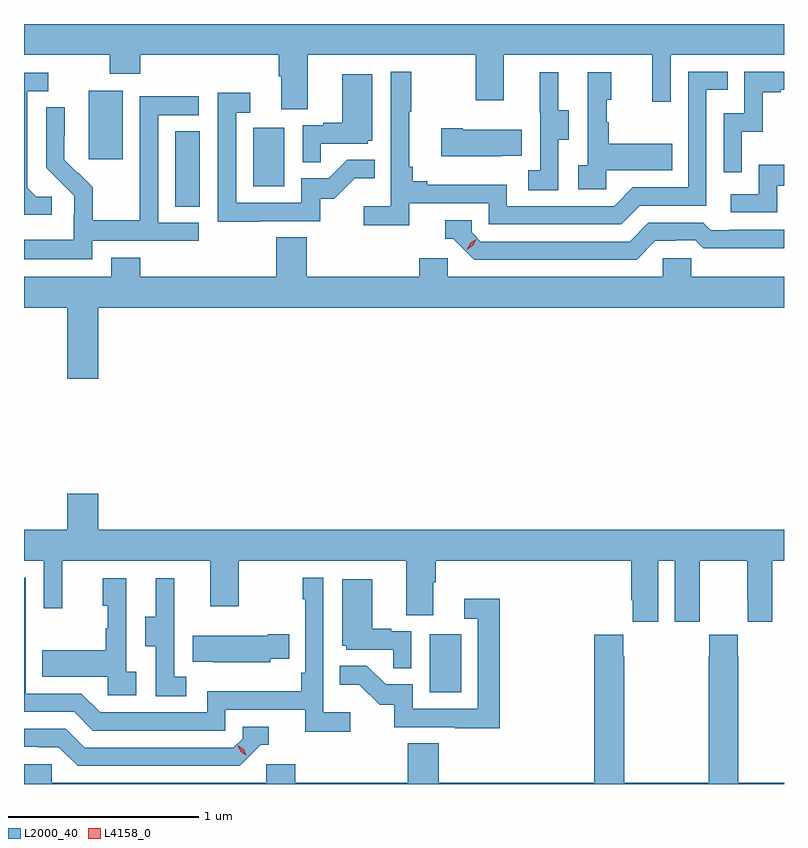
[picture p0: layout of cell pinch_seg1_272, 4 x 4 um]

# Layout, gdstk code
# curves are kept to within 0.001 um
import gdstk
lib = gdstk.Library(unit=1e-6, precision=1e-09)
def R(c, l, rs):  # rectangles x0, y0, x1, y1
    for r in rs: c.add(gdstk.rectangle(r[:2], r[2:], *l))
def P(c, l, *ps):  # polygons
    for p in ps: c.add(gdstk.Polygon(p, *l))
L2000_40 = (2000, 40)
L4158_0 = (4158, 0)

pinch_seg1_272 = lib.new_cell('pinch_seg1_272')
R(pinch_seg1_272, L2000_40, [(898.184,557.7,898.348,558.007), (896.843,560.257,896.974,560.654), (897.254,560.364,897.418,560.671), (896.39,560.505,896.569,560.866)])
P(pinch_seg1_272, L2000_40, [(897.541,561.056),(898.426,561.056),(898.426,560.817),(898.573,560.817),(898.573,561.056),(899.354,561.056),(899.354,560.808),(899.451,560.808),(899.451,561.056),(900.048,561.056),(900.048,561.218),(896.048,561.218),(896.048,561.056),(896.5,561.056),(896.5,560.957),(896.66,560.957),(896.66,561.056),(897.389,561.056),(897.389,560.944),(897.401,560.944),(897.401,560.77),(897.541,560.77)],
  [(898.076,560.274),(898.494,560.274),(898.494,560.163),(899.191,560.163),(899.29,560.262),(899.64,560.262),(899.64,560.871),(899.753,560.871),(899.753,560.967),(899.544,560.967),(899.544,560.358),(899.253,560.358),(899.154,560.259),(898.59,560.259),(898.59,560.371),(898.171,560.371),(898.171,560.39),(898.094,560.39),(898.094,560.467),(898.075,560.467),(898.075,560.755),(898.087,560.755),(898.087,560.968),(897.978,560.968),(897.978,560.26),(897.837,560.26),(897.837,560.158),(898.076,560.158)],
  [(899.826,560.651),(899.936,560.651),(899.936,560.859),(900.031,560.859),(900.031,560.871),(900.048,560.871),(900.048,560.967),(899.838,560.967),(899.838,560.748),(899.73,560.748),(899.73,560.439),(899.826,560.439)],
  [(899.112,560.447),(899.459,560.447),(899.459,560.587),(899.125,560.587),(899.125,560.702),(899.115,560.702),(899.115,560.82),(899.14,560.82),(899.14,560.965),(899.016,560.965),(899.016,560.474),(898.965,560.474),(898.965,560.349),(899.112,560.349)],
  [(898.86,560.608),(898.915,560.608),(898.915,560.763),(898.861,560.763),(898.861,560.965),(898.763,560.965),(898.763,560.751),(898.764,560.751),(898.764,560.447),(898.701,560.447),(898.701,560.344),(898.86,560.344)],
  [(896.194,560.31),(896.112,560.31),(896.065,560.357),(896.065,560.865),(896.176,560.865),(896.176,560.961),(896.048,560.961),(896.048,560.215),(896.05,560.213),(896.194,560.213)],
  [(897.611,560.589),(897.858,560.589),(897.858,560.604),(897.88,560.604),(897.88,560.953),(897.722,560.953),(897.722,560.698),(897.623,560.698),(897.623,560.685),(897.516,560.685),(897.516,560.491),(897.611,560.491)],
  [(897.287,560.181),(897.606,560.181),(897.606,560.298),(897.682,560.298),(897.789,560.405),(897.893,560.405),(897.893,560.504),(897.749,560.504),(897.651,560.406),(897.507,560.406),(897.507,560.277),(897.165,560.277),(897.165,560.751),(897.238,560.751),(897.238,560.857),(897.069,560.857),(897.069,560.176),(897.287,560.176)],
  [(896.406,560.076),(896.968,560.076),(896.968,560.172),(896.754,560.172),(896.754,560.739),(896.968,560.739),(896.968,560.838),(896.658,560.838),(896.658,560.408),(896.656,560.408),(896.656,560.185),(896.411,560.185),(896.411,560.359),(896.334,560.436),(896.331,560.433),(896.261,560.504),(896.262,560.78),(896.166,560.78),(896.166,560.462),(896.312,560.314),(896.312,560.217),(896.31,560.217),(896.31,560.083),(896.048,560.083),(896.048,559.979),(896.406,559.979)],
  [(898.559,560.525),(898.667,560.525),(898.667,560.662),(898.357,560.662),(898.357,560.67),(898.245,560.67),(898.245,560.522),(898.559,560.522)],
  [(900.012,560.367),(900.048,560.367),(900.048,560.476),(899.916,560.476),(899.916,560.322),(899.769,560.322),(899.769,560.226),(900.012,560.226)],
  [(899.371,560.076),(899.478,560.076),(899.478,560.079),(899.581,560.079),(899.623,560.037),(899.856,560.037),(899.856,560.039),(900.048,560.039),(900.048,560.136),(899.761,560.136),(899.761,560.133),(899.662,560.133),(899.623,560.172),(899.334,560.172),(899.235,560.073),(898.452,560.073),(898.404,560.121),(898.404,560.184),(898.265,560.184),(898.265,560.088),(898.308,560.088),(898.419,559.977),(899.272,559.977)],
  [(896.44,559.724),(900.048,559.724),(900.048,559.888),(899.559,559.888),(899.559,559.986),(899.409,559.986),(899.409,559.888),(898.278,559.888),(898.278,559.986),(898.127,559.986),(898.127,559.888),(897.536,559.888),(897.536,560.096),(897.376,560.096),(897.376,559.888),(896.66,559.888),(896.66,559.987),(896.507,559.987),(896.507,559.888),(896.048,559.888),(896.048,559.724),(896.276,559.724),(896.276,559.35),(896.44,559.35)],
  [(899.386,558.392),(899.474,558.392),(899.474,558.072),(899.604,558.072),(899.604,558.184),(899.605,558.184),(899.605,558.392),(899.855,558.392),(899.855,558.184),(899.856,558.184),(899.856,558.072),(899.986,558.072),(899.986,558.392),(900.048,558.392),(900.048,558.556),(896.44,558.556),(896.44,558.745),(896.276,558.745),(896.276,558.556),(896.048,558.556),(896.048,558.392),(896.151,558.392),(896.151,558.144),(896.249,558.144),(896.249,558.392),(897.029,558.392),(897.029,558.153),(897.177,558.153),(897.177,558.392),(898.061,558.392),(898.061,558.106),(898.201,558.106),(898.201,558.28),(898.214,558.28),(898.214,558.392),(899.243,558.392),(899.243,558.184),(899.252,558.184),(899.252,558.072),(899.386,558.072)],
  [(897.766,557.596),(897.624,557.596),(897.624,558.304),(897.516,558.304),(897.516,558.191),(897.528,558.191),(897.528,557.803),(897.508,557.803),(897.508,557.707),(897.012,557.707),(897.012,557.595),(896.448,557.595),(896.349,557.694),(896.058,557.694),(896.058,558.303),(896.048,558.303),(896.048,557.598),(896.312,557.598),(896.411,557.499),(897.108,557.499),(897.108,557.61),(897.527,557.61),(897.527,557.494),(897.766,557.494)],
  [(896.902,557.783),(896.838,557.783),(896.838,558.087),(896.84,558.087),(896.84,558.301),(896.741,558.301),(896.741,558.099),(896.687,558.099),(896.687,557.944),(896.742,557.944),(896.742,557.68),(896.902,557.68)],
  [(896.638,557.81),(896.586,557.81),(896.586,558.301),(896.462,558.301),(896.462,558.156),(896.488,558.156),(896.488,558.038),(896.478,558.038),(896.478,557.923),(896.143,557.923),(896.143,557.783),(896.49,557.783),(896.49,557.685),(896.638,557.685)],
  [(898.086,558.021),(897.98,558.021),(897.98,558.034),(897.88,558.034),(897.88,558.295),(897.722,558.295),(897.722,557.946),(897.744,557.946),(897.744,557.925),(897.991,557.925),(897.991,557.827),(898.086,557.827)],
  [(898.553,558.193),(898.365,558.193),(898.365,558.087),(898.437,558.087),(898.437,557.613),(898.095,557.613),(898.095,557.742),(897.951,557.742),(897.853,557.84),(897.709,557.84),(897.709,557.741),(897.813,557.741),(897.92,557.634),(897.997,557.634),(897.997,557.517),(898.315,557.517),(898.315,557.512),(898.553,557.512)],
  [(897.345,557.876),(897.443,557.876),(897.443,558.006),(897.332,558.006),(897.332,557.998),(896.935,557.998),(896.935,557.861),(897.043,557.861),(897.043,557.858),(897.345,557.858)],
  [(900.048,557.224),(899.808,557.224),(899.808,557.891),(899.805,557.891),(899.805,558.004),(899.655,558.004),(899.655,557.891),(899.653,557.891),(899.653,557.224),(899.208,557.224),(899.208,557.891),(899.201,557.891),(899.201,558.004),(899.048,558.004),(899.048,557.224),(898.232,557.224),(898.232,557.432),(898.067,557.432),(898.067,557.224),(897.476,557.224),(897.476,557.322),(897.324,557.322),(897.324,557.224),(896.193,557.224),(896.193,557.322),(896.048,557.322),(896.048,557.218),(900.048,557.218)],
  [(897.294,557.424),(897.337,557.424),(897.337,557.52),(897.198,557.52),(897.198,557.457),(897.15,557.409),(896.367,557.409),(896.268,557.508),(896.048,557.508),(896.048,557.415),(896.124,557.415),(896.124,557.412),(896.231,557.412),(896.33,557.313),(897.183,557.313)])
P(pinch_seg1_272, L4158_0, [(898.382,560.033),(898.382,560.034),(898.398,560.066),(898.428,560.086),(898.429,560.086),(898.429,560.086),(898.413,560.053),(898.383,560.033)],
  [(897.219,557.369),(897.188,557.389),(897.173,557.422),(897.173,557.422),(897.173,557.422),(897.204,557.402),(897.219,557.37),(897.219,557.369)])

lib.write_gds('pinch_seg1_272.gds')
